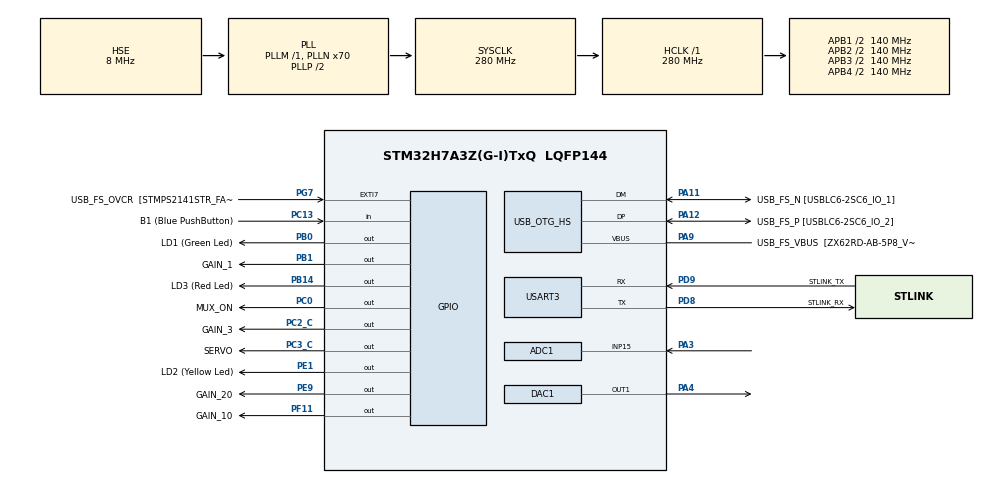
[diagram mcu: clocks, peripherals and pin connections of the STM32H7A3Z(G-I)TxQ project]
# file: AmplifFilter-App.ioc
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ADC1.Channel-0\#ChannelRegularConversion=ADC_CHANNEL_15
ADC1.ClockPrescaler=ADC_CLOCK_ASYNC_DIV8
ADC1.ConversionDataManagement=ADC_CONVERSIONDATA_DMA_CIRCULAR
ADC1.EnableAnalogWatchDog1=false
ADC1.NbrOfConversionFlag=1
ADC1.OffsetNumber-0\#ChannelRegularConversion=ADC_OFFSET_NONE
ADC1.OffsetSignedSaturation-0\#ChannelRegularConversion=DISABLE
ADC1.OversamplingMode=DISABLE
ADC1.Rank-0\#ChannelRegularConversion=1
ADC1.SamplingTime-0\#ChannelRegularConversion=ADC_SAMPLETIME_16CYCLES_5
ADC1.master=1
DAC1.DAC_Channel-DAC_OUT1=DAC_CHANNEL_1
Dma.ADC1.0.Direction=DMA_PERIPH_TO_MEMORY
Dma.ADC1.0.EventEnable=DISABLE
Dma.ADC1.0.FIFOMode=DMA_FIFOMODE_DISABLE
Dma.ADC1.0.Instance=DMA1_Stream0
Dma.ADC1.0.MemDataAlignment=DMA_MDATAALIGN_HALFWORD
Dma.ADC1.0.MemInc=DMA_MINC_DISABLE
Dma.ADC1.0.Mode=DMA_CIRCULAR
Dma.ADC1.0.PeriphDataAlignment=DMA_PDATAALIGN_HALFWORD
Dma.ADC1.0.PeriphInc=DMA_PINC_DISABLE
Dma.ADC1.0.Polarity=HAL_DMAMUX_REQ_GEN_RISING
Dma.ADC1.0.Priority=DMA_PRIORITY_LOW
Dma.ADC1.0.RequestNumber=1
Dma.ADC1.0.SignalID=NONE
Dma.ADC1.0.SyncEnable=DISABLE
Dma.ADC1.0.SyncPolarity=HAL_DMAMUX_SYNC_NO_EVENT
Dma.ADC1.0.SyncRequestNumber=1
Dma.ADC1.0.SyncSignalID=NONE
Dma.Request0=ADC1
Mcu.Family=STM32H7
Mcu.Name=STM32H7A3Z(G-I)TxQ
Mcu.Package=LQFP144
NVIC.ADC_IRQn=true\:0\:0\:false\:false\:true\:true\:true\:true
NVIC.DMA1_Stream0_IRQn=true\:0\:0\:false\:false\:true\:false\:true\:true
NVIC.OTG_HS_IRQn=true\:0\:0\:false\:false\:true\:true\:true\:true
NVIC.PriorityGroup=NVIC_PRIORITYGROUP_4
NVIC.TIM6_DAC_IRQn=true\:0\:0\:false\:false\:true\:true\:true\:true
NVIC.TIM7_IRQn=true\:0\:0\:false\:false\:true\:true\:true\:true
NVIC.USART3_IRQn=true\:0\:0\:false\:false\:true\:true\:true\:true
PA11.GPIO_Label=USB_FS_N [USBLC6-2SC6_IO_1]
PA11.Mode=Device_Only_FS
PA11.Signal=USB_OTG_HS_DM
PA12.GPIO_Label=USB_FS_P [USBLC6-2SC6_IO_2]
PA12.Mode=Device_Only_FS
PA12.Signal=USB_OTG_HS_DP
PA3.Mode=IN15-Single-Ended
PA3.Signal=ADC1_INP15
PA4.Signal=COMP_DAC11_group
PA9.GPIO_Label=USB_FS_VBUS  [ZX62RD-AB-5P8_VBUS]
PA9.Mode=Activate_VBUS_FS
PA9.Signal=USB_OTG_HS_VBUS
PB0.GPIO_Label=LD1 (Green Led)
PB0.Signal=GPIO_Output
PB1.GPIO_Label=GAIN_1
PB1.Signal=GPIO_Output
PB14.GPIO_Label=LD3 (Red Led)
PB14.Signal=GPIO_Output
PC0.GPIO_Label=MUX_ON
PC0.Signal=GPIO_Output
PC1.Signal=ADCx_INP11
PC13.GPIO_Label=B1 (Blue PushButton)
PC13.Signal=GPIO_Input
PC14-OSC32_IN.GPIO_Label=OSC32_IN
PC14-OSC32_IN.Mode=LSE-External-Oscillator
PC14-OSC32_IN.Signal=RCC_OSC32_IN
PC15-OSC32_OUT.GPIO_Label=OSC32_OUT
PC15-OSC32_OUT.Mode=LSE-External-Oscillator
PC15-OSC32_OUT.Signal=RCC_OSC32_OUT
PC2_C.GPIO_Label=GAIN_3
PC2_C.Signal=GPIO_Output
PC3_C.GPIO_Label=SERVO
PC3_C.Signal=GPIO_Output
PD8.GPIO_Label=STLINK_RX
PD8.Mode=Asynchronous
PD8.Signal=USART3_TX
PD9.GPIO_Label=STLINK_TX
PD9.Mode=Asynchronous
PD9.Signal=USART3_RX
PE1.GPIO_Label=LD2 (Yellow Led)
PE1.Signal=GPIO_Output
PE9.GPIO_Label=GAIN_20
PE9.Signal=GPIO_Output
PF11.GPIO_Label=GAIN_10
PF11.Signal=GPIO_Output
PG7.GPIO_Label=USB_FS_OVCR  [STMPS2141STR_FAULT]
PG7.Signal=GPXTI7
PH0-OSC_IN.GPIO_Label=PH0-MCU
PH0-OSC_IN.Mode=HSE-External-Clock-Source
PH0-OSC_IN.Signal=RCC_OSC_IN
PH1-OSC_OUT.GPIO_Label=PH1-MCU
PH1-OSC_OUT.Signal=RCC_OSC_OUT
ProjectManager.HeapSize=0x200
ProjectManager.StackSize=0x400
ProjectManager.TargetToolchain=STM32CubeIDE
RCC.ADCFreq_Value=42666666.666666664
RCC.APB1Freq_Value=140000000
RCC.APB2Freq_Value=140000000
RCC.APB3Freq_Value=140000000
RCC.APB4Freq_Value=140000000
RCC.CDPPRE=RCC_APB3_DIV2
RCC.CDPPRE1=RCC_APB1_DIV2
RCC.CDPPRE2=RCC_APB2_DIV2
RCC.CortexFreq_Value=280000000
RCC.DIVM1=1
RCC.DIVM2=1
RCC.DIVM3=1
RCC.DIVN1=70
RCC.DIVN2=16
RCC.DIVN3=16
RCC.DIVP2=3
RCC.DIVQ1=4
RCC.DIVQ3=3
RCC.DIVR3=1
RCC.HCLKFreq_Value=280000000
RCC.HSE_VALUE=8000000
RCC.PLL2FRACN=0
RCC.PLL3FRACN=0
RCC.PLLFRACN=0
RCC.PLLSourceVirtual=RCC_PLLSOURCE_HSE
RCC.SRDPPRE=RCC_APB4_DIV2
RCC.SYSCLKFreq_VALUE=280000000
RCC.SYSCLKSource=RCC_SYSCLKSOURCE_PLLCLK
RCC.SupplySource=PWR_DIRECT_SMPS_SUPPLY
RCC.USBCLockSelection=RCC_USBCLKSOURCE_HSI48
RCC.USBFreq_Value=48000000
SH.ADCx_INP11.0=ADC1_INP11
SH.COMP_DAC11_group.0=DAC1_OUT1,DAC_OUT1
TIM7.Period=500-1
TIM7.Prescaler=280-1
TIM7.TIM_MasterOutputTrigger=TIM_TRGO_RESET
USART3.VirtualMode-Asynchronous=VM_ASYNC
USB_DEVICE.CLASS_NAME_HS=CDC
USB_DEVICE.VirtualMode=Cdc
USB_DEVICE.VirtualMode-CDC_HS=Cdc
USB_DEVICE.VirtualModeHS=Cdc_HS
USB_OTG_HS.VirtualMode-Device_Only_FS=Device_Only_FS
VP_CRC_VS_CRC.Mode=CRC_Activate
VP_IWDG1_VS_IWDG.Mode=IWDG_Activate
VP_TIM16_VS_ClockSourceINT.Mode=Enable_Timer
VP_TIM5_VS_ClockSourceINT.Mode=Internal
VP_TIM7_VS_ClockSourceINT.Mode=Enable_Timer
VP_USB_DEVICE_VS_USB_DEVICE_CDC_HS.Mode=CDC_HS
board=NUCLEO-H7A3ZI-Q

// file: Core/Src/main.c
/* USER CODE BEGIN Header */
/**
  ******************************************************************************
  * @file           : main.c
  * @brief          : Main program body
  ******************************************************************************
  * @attention
  *
  * Copyright (c) 2025 STMicroelectronics.
  * All rights reserved.
  *
  * This software is licensed under terms that can be found in the LICENSE file
  * in the root directory of this software component.
  * If no LICENSE file comes with this software, it is provided AS-IS.
  *
  ******************************************************************************
  */
/* USER CODE END Header */
#include "main.h"
#include "adc.h"
#include "crc.h"
#include "dac.h"
#include "dma.h"
#include "iwdg.h"
#include "tim.h"
#include "usart.h"
#include "usb_device.h"
#include "gpio.h"

/* USER CODE BEGIN Includes */
#include "common.h"
#include "usbd_cdc_if.h"
#include "system_msp.h"
#include "configuration.h"
#include "oscillogram.h"

#include "arm_math.h"

#include "meas.h"

// for random number gen
#include "stdlib.h"
#include "stdint.h"

//#include "stdbool.h"
/* USER CODE END Includes */

void SystemClock_Config(void);
/* USER CODE BEGIN PFP */

void HAL_TIM_PeriodElapsedCallback(TIM_HandleTypeDef *htim);
void HAL_ADC_ConvCpltCallback(ADC_HandleTypeDef *hadc);
void HAL_ADC_LevelOutOfWindowCallback(ADC_HandleTypeDef *hadc);

float FIRCalc(float* fir_buff, float* fir_coef);

float random_float(void) {
    // rand() vrací 0..RAND_MAX
    float r = (float)rand() / (float)RAND_MAX;  // 0..1
    return r*0.2f-0.1f;;                             // -0.5 .. 0.5
}

/* USER CODE END PFP */

int main(void)
{

  /* USER CODE BEGIN 1 */
	uint32_t tick;
  /* USER CODE END 1 */

  /* MCU Configuration--------------------------------------------------------*/

  /* Reset of all peripherals, Initializes the Flash interface and the Systick. */
  HAL_Init();

  /* Configure the system clock */
  SystemClock_Config();

  /* USER CODE BEGIN SysInit */
	/* Disable IWDG in debug mode */
	DBGMCU->APB4FZ1 = DBGMCU->APB4FZ1 | DBGMCU_APB4FZ1_DBG_IWDG1;

  /* USER CODE END SysInit */

  /* Initialize all configured peripherals */
  MX_GPIO_Init();
  MX_DMA_Init();
  MX_USB_DEVICE_Init();
  MX_ADC1_Init();
  MX_DAC1_Init();
  MX_USART3_UART_Init();
  MX_CRC_Init();
  MX_TIM5_Init();
  MX_TIM16_Init();
  MX_IWDG1_Init();
  MX_TIM7_Init();
  /* USER CODE BEGIN 2 */

	Config_Init();

	systemParamInit();	// Init system default state
  /* USER CODE END 2 */

  /* Infinite loop */
  /* USER CODE BEGIN WHILE */
	Oscil_Init();
	tick = HAL_GetTick();

	uint32_t tm = 0;				// Time counter

/*
	float hysteresis = 0.1;
	float threshold = 1.0;
	conf.meas.hysteresis = hysteresis;
	conf.meas.threshlod = threshold;

	uint32_t tm_analog = 0;
*/
	while (1)
	{
		CDC_PacketReceived();
		Oscil_Handle();
		conf.sys.tick = HAL_GetTick();

		/* Check and update parameter settings every 1 sec */
		if (conf.sys.tick > tm)
		{
			tm = conf.sys.tick + 1000;

			setParams((uint8_t)conf.meas.offset,(uint8_t)conf.meas.gain);
			HAL_GPIO_TogglePin(LD3_GPIO_Port, LD3_Pin);
		}

		/* After completed ADC conversion */
		/* Read and store new value, calculate average and send via USB, set new DAC value */
		if (new_raw_data)
		{
			if(measProcess(adc_value) == STATUS_OK)
				new_raw_data = 0;		// Turn flag off --> data processed

			Oscil_SampleAvailable();
		}

		/* Every 2s change threshold value - depend on average */
		/*if (conf.sys.tick > tm_analog)
		{
			tm_analog = conf.sys.tick + 2000;

			// Only when fifo is full (100 samples after restart)
			if (fifo_loaded)
			{
				if (raw_average > threshold + hysteresis)
				{
					threshold += threshold / 10;
				}
				else if (raw_average < threshold - hysteresis)
				{
					threshold -= threshold / 10;
				}

				hysteresis = threshold / 10;

				conf.meas.hysteresis = hysteresis;
				conf.meas.threshlod = threshold;

				uint32_t dac_val = (uint32_t)(((threshold / 8.0) + 1.25) * 4095) / 2.5 ;
				HAL_DAC_SetValue(&hdac1, DAC1_CHANNEL_1, DAC_ALIGN_12B_R, dac_val );
			}

		}*/

		if (TICK_EXPIRED(tick))
		{
			tick += 100;

			System_ReloadIwdg();
			Control_Handle();
		}
    /* USER CODE END WHILE */

	}
}

void SystemClock_Config(void)
{
  RCC_OscInitTypeDef RCC_OscInitStruct = {0};
  RCC_ClkInitTypeDef RCC_ClkInitStruct = {0};

  /*AXI clock gating */
  RCC->CKGAENR = 0xFFFFFFFF;

  /** Supply configuration update enable
  */
  HAL_PWREx_ConfigSupply(PWR_DIRECT_SMPS_SUPPLY);

  /** Configure the main internal regulator output voltage
  */
  __HAL_PWR_VOLTAGESCALING_CONFIG(PWR_REGULATOR_VOLTAGE_SCALE0);

  while(!__HAL_PWR_GET_FLAG(PWR_FLAG_VOSRDY)) {}

  /** Initializes the RCC Oscillators according to the specified parameters
  * in the RCC_OscInitTypeDef structure.
  */
  RCC_OscInitStruct.OscillatorType = RCC_OSCILLATORTYPE_HSI48|RCC_OSCILLATORTYPE_LSI
                              |RCC_OSCILLATORTYPE_HSE;
  RCC_OscInitStruct.HSEState = RCC_HSE_BYPASS;
  RCC_OscInitStruct.LSIState = RCC_LSI_ON;
  RCC_OscInitStruct.HSI48State = RCC_HSI48_ON;
  RCC_OscInitStruct.PLL.PLLState = RCC_PLL_ON;
  RCC_OscInitStruct.PLL.PLLSource = RCC_PLLSOURCE_HSE;
  RCC_OscInitStruct.PLL.PLLM = 1;
  RCC_OscInitStruct.PLL.PLLN = 70;
  RCC_OscInitStruct.PLL.PLLP = 2;
  RCC_OscInitStruct.PLL.PLLQ = 4;
  RCC_OscInitStruct.PLL.PLLR = 2;
  RCC_OscInitStruct.PLL.PLLRGE = RCC_PLL1VCIRANGE_3;
  RCC_OscInitStruct.PLL.PLLVCOSEL = RCC_PLL1VCOWIDE;
  RCC_OscInitStruct.PLL.PLLFRACN = 0;
  if (HAL_RCC_OscConfig(&RCC_OscInitStruct) != HAL_OK)
  {
    Error_Handler();
  }

  /** Initializes the CPU, AHB and APB buses clocks
  */
  RCC_ClkInitStruct.ClockType = RCC_CLOCKTYPE_HCLK|RCC_CLOCKTYPE_SYSCLK
                              |RCC_CLOCKTYPE_PCLK1|RCC_CLOCKTYPE_PCLK2
                              |RCC_CLOCKTYPE_D3PCLK1|RCC_CLOCKTYPE_D1PCLK1;
  RCC_ClkInitStruct.SYSCLKSource = RCC_SYSCLKSOURCE_PLLCLK;
  RCC_ClkInitStruct.SYSCLKDivider = RCC_SYSCLK_DIV1;
  RCC_ClkInitStruct.AHBCLKDivider = RCC_HCLK_DIV1;
  RCC_ClkInitStruct.APB3CLKDivider = RCC_APB3_DIV2;
  RCC_ClkInitStruct.APB1CLKDivider = RCC_APB1_DIV2;
  RCC_ClkInitStruct.APB2CLKDivider = RCC_APB2_DIV2;
  RCC_ClkInitStruct.APB4CLKDivider = RCC_APB4_DIV2;

  if (HAL_RCC_ClockConfig(&RCC_ClkInitStruct, FLASH_LATENCY_6) != HAL_OK)
  {
    Error_Handler();
  }
}

/* USER CODE BEGIN 4 */

/* FIR filter implementation on moving float buff */
float FIRCalc(float* fir_buff, float* fir_coef)
{
	float fir = 0.0;
	for(int i=0;i<FIR_SIZE;i++)
	{
		fir += fir_buff[BUFF_SIZE-1-i] * fir_coef[i];
	}
	return fir;
}

/*	Callback handlers	*/
void HAL_TIM_PeriodElapsedCallback(TIM_HandleTypeDef *htim)
{
	if(htim->Instance == TIM7)
	{
		//HAL_GPIO_TogglePin(LD2_GPIO_Port, LD2_Pin);
		HAL_ADC_Start_DMA(&hadc1, &adc_value, 1);
	}
}

void HAL_ADC_ConvCpltCallback(ADC_HandleTypeDef *hadc)
{
	if(hadc->Instance == ADC1)
	{
		new_raw_data = 1;
	}
}

/* Analog watchdog IRQ callback */
void HAL_ADC_LevelOutOfWindowCallback(ADC_HandleTypeDef *hadc)
{
	if(hadc->Instance == ADC1)
	{
		uint32_t isr = hadc->Instance->ISR;

		/* Need to turn of IRQ flag in ISR */
		    if (isr & ADC_ISR_AWD1)
		    {
		        __HAL_ADC_CLEAR_FLAG(hadc, ADC_FLAG_AWD1);
		    }
	}
}

/**
  * @brief  This function is executed in case of error occurrence.
  * @param  file: The file name as string.
  * @param  line: The line in file as a number.
  * @retval None
  */
void _Error_Handler(char *file, int line)
{
  /* User can add his own implementation to report the HAL error return state */

//  System_Reset();
  while(1)
  {
  }
}
/* USER CODE END 4 */

void Error_Handler(void)
{
  __disable_irq();
  while (1)
  {
  }
}
